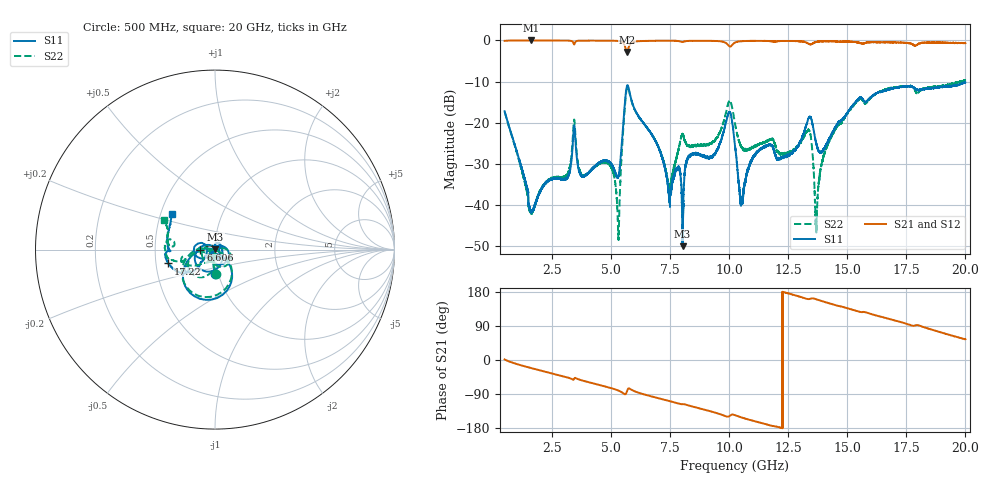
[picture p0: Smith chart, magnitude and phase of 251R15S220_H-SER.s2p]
!{251R15S220}
!Johanson Technology Inc.
!www.johansontechnology.com
!Test Board Conditions:
!Substrate Type  RO4350B
!Substrate Thickness  20 mil
!Substrate Dk  3.66
!TL Type: GCPW
!TL Trace Width  34 mil
!TL Gap  10 mil
!Electrode orientation  Horizontal
!DUT TOPOLOGY	SERIES
!Mounting Pad LxW  26x52 mil
! Created Thu Mar 12 17:09:29 2020
# mhz S ma R 50
! 2 Port Network Data from SP1.SP block
! freq  magS11  angS11  magS21  angS21  magS12  angS12  magS22  angS22
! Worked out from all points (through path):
!   19501 points, 500 MHz to 20 GHz, reference 50 ohm
!   highest |S21| = 0.00 dB at 1.615 GHz (marker M1); lowest = -2.8 dB at 5.677 GHz (marker M2)
!   group delay of S21, straight-line fit = 42.4 ps
!   lowest |S11| = -50.0 dB at 8.03 GHz (marker M3), VSWR 1.01, Z = 50.2 + j0.26 ohm
!   |S11| at or under -10 dB: start of sweep to end of sweep
!   |S22| runs from -48.6 to -9.6 dB; largest |S21 - S12| = 0.022
!   S11 on the Smith chart (normalised r, x): 500 MHz: 0.97, -0.27; 6.606 GHz: 0.85, -0.00; 17.22 GHz: 0.58, -0.10; 20 GHz: 0.58, +0.25
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500  0.1379 -88.9  0.9891 1.5  0.9898 1.5  0.1373 -88.2
1615  0.008327 177.4  0.9999 -21.2  0.999 -21.2  0.008205 -36.0
3146  0.02153 66.8  0.9957 -45.8  0.9962 -45.8  0.02381 11.7
3438  0.09217 -39.5  0.898 -50.5  0.8986 -50.4  0.1085 -42.3
3750  0.0226 -146.2  0.9951 -53.5  0.9944 -53.4  0.02364 -126.6
4905  0.03372 -144.0  0.993 -72.4  0.9928 -72.5  0.03184 -170.3
5304  0.02169 -92.1  0.9855 -80.4  0.9849 -80.4  0.004652 -139.2
5677  0.281 -95.5  0.7273 -82.5  0.7275 -82.6  0.266 -96.8
6606  0.08138 -178.0  0.9879 -94.2  0.9889 -94.2  0.08103 175.5
7000  0.0517 174.4  0.9908 -100.7  0.9919 -100.6  0.05173 171.9
7487  0.01114 167.5  0.9937 -108.6  0.9941 -108.6  0.01335 -169.7
8030  0.003178 54.6  0.9572 -116.5  0.9577 -116.5  0.07311 -116.1
9989  0.1335 -116.8  0.8602 -149.1  0.8601 -149.1  0.18 -121.9
10250  0.05339 151.0  0.9432 -145.5  0.9433 -145.5  0.0968 -172.2
10532  0.01102 37.5  0.9797 -151.7  0.98 -151.8  0.0502 -153.8
11184  0.04403 -48.3  0.9888 -163.2  0.9882 -163.2  0.05424 -115.9
13500  0.1054 164.2  0.9052 162.5  0.9057 162.5  0.05371 164.1
13706  0.05365 157.0  0.9625 159.8  0.9643 159.7  0.006394 -15.4
14518  0.09055 -137.2  0.9745 144.5  0.9749 144.5  0.08577 -121.9
16750  0.2557 -154.7  0.9522 108.9  0.9447 108.4  0.2617 -168.0
17223  0.2717 -163.5  0.9416 100.8  0.9409 100.8  0.2737 -174.5
20000  0.3098 139.9  0.9278 54.5  0.9254 54.7  0.3299 150.4
